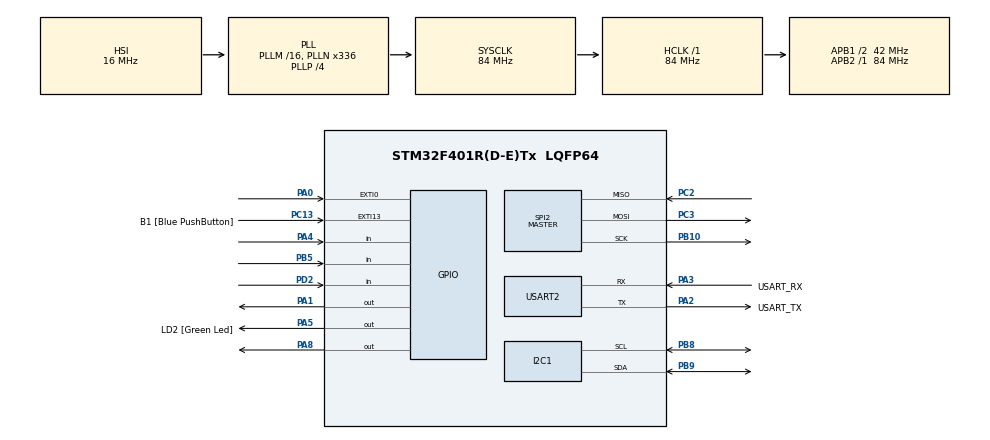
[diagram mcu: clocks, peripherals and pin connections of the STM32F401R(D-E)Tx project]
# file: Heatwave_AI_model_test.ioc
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FREERTOS.Tasks01=defaultTask,24,128,StartDefaultTask,Default,NULL,Dynamic,NULL,NULL
Mcu.Family=STM32F4
Mcu.Name=STM32F401R(D-E)Tx
Mcu.Package=LQFP64
NVIC.EXTI0_IRQn=true\:5\:0\:false\:false\:true\:true\:true\:true\:true
NVIC.PriorityGroup=NVIC_PRIORITYGROUP_4
PA0-WKUP.Signal=GPXTI0
PA1.Signal=GPIO_Output
PA13.GPIO_Label=TMS
PA13.Mode=Serial_Wire
PA13.Signal=SYS_JTMS-SWDIO
PA14.GPIO_Label=TCK
PA14.Mode=Serial_Wire
PA14.Signal=SYS_JTCK-SWCLK
PA2.GPIO_Label=USART_TX
PA2.GPIO_Mode=GPIO_MODE_AF_PP
PA2.GPIO_PuPd=GPIO_NOPULL
PA2.GPIO_Speed=GPIO_SPEED_FREQ_LOW
PA2.Mode=Asynchronous
PA2.Signal=USART2_TX
PA3.GPIO_Label=USART_RX
PA3.GPIO_Mode=GPIO_MODE_AF_PP
PA3.GPIO_PuPd=GPIO_NOPULL
PA3.GPIO_Speed=GPIO_SPEED_FREQ_LOW
PA3.Mode=Asynchronous
PA3.Signal=USART2_RX
PA4.Signal=GPIO_Input
PA5.GPIO_Label=LD2 [Green Led]
PA5.GPIO_Mode=GPIO_MODE_OUTPUT_PP
PA5.GPIO_PuPd=GPIO_NOPULL
PA5.GPIO_Speed=GPIO_SPEED_FREQ_LOW
PA5.Signal=GPIO_Output
PA8.Signal=GPIO_Output
PB10.Mode=Full_Duplex_Master
PB10.Signal=SPI2_SCK
PB5.Signal=GPIO_Input
PB8.Mode=I2C
PB8.Signal=I2C1_SCL
PB9.Mode=I2C
PB9.Signal=I2C1_SDA
PC13-ANTI_TAMP.GPIO_Label=B1 [Blue PushButton]
PC13-ANTI_TAMP.GPIO_ModeDefaultEXTI=GPIO_MODE_IT_FALLING
PC13-ANTI_TAMP.GPIO_PuPd=GPIO_NOPULL
PC13-ANTI_TAMP.Signal=GPXTI13
PC14-OSC32_IN.Mode=LSE-External-Oscillator
PC14-OSC32_IN.Signal=RCC_OSC32_IN
PC15-OSC32_OUT.Mode=LSE-External-Oscillator
PC15-OSC32_OUT.Signal=RCC_OSC32_OUT
PC2.Mode=Full_Duplex_Master
PC2.Signal=SPI2_MISO
PC3.Mode=Full_Duplex_Master
PC3.Signal=SPI2_MOSI
PD2.Signal=GPIO_Input
PH0\ -\ OSC_IN.Mode=HSE-External-Clock-Source
PH0\ -\ OSC_IN.Signal=RCC_OSC_IN
PH1\ -\ OSC_OUT.Mode=HSE-External-Clock-Source
PH1\ -\ OSC_OUT.Signal=RCC_OSC_OUT
ProjectManager.HeapSize=0x800
ProjectManager.StackSize=0x800
ProjectManager.TargetToolchain=STM32CubeIDE
RCC.48MHZClocksFreq_Value=48000000
RCC.AHBFreq_Value=84000000
RCC.APB1CLKDivider=RCC_HCLK_DIV2
RCC.APB1Freq_Value=42000000
RCC.APB1TimFreq_Value=84000000
RCC.APB2Freq_Value=84000000
RCC.APB2TimFreq_Value=84000000
RCC.CortexFreq_Value=84000000
RCC.HCLKFreq_Value=84000000
RCC.HSE_VALUE=8000000
RCC.HSI_VALUE=16000000
RCC.PLLN=336
RCC.PLLP=RCC_PLLP_DIV4
RCC.PLLQ=7
RCC.SYSCLKFreq_VALUE=84000000
RCC.SYSCLKSource=RCC_SYSCLKSOURCE_PLLCLK
RCC.VCOOutputFreq_Value=336000000
SPI2.Direction=SPI_DIRECTION_2LINES
SPI2.Mode=SPI_MODE_MASTER
SPI2.VirtualType=VM_MASTER
STMicroelectronics.X-CUBE-AI.10.1.0.ActivationBufferSizeList=60
STMicroelectronics.X-CUBE-AI.10.1.0.ActivationBuffers=pool0
STMicroelectronics.X-CUBE-AI.10.1.0.ActivationNames=pool0
STMicroelectronics.X-CUBE-AI.10.1.0.ActivationSizes=AI_HEATWAVES_MODEL_DATA_ACTIVATION_1_SIZE
STMicroelectronics.X-CUBE-AI.10.1.0.HeapSize=0x800
STMicroelectronics.X-CUBE-AI.10.1.0.InternalRamActivationBufferMaxSize=AI_HEATWAVES_MODEL_DATA_ACTIVATIONS_SIZE
STMicroelectronics.X-CUBE-AI.10.1.0.LatestDirectoryUsed-2bf222f21cbd70b69f9839269ae9404f0735cd47a3f2eb0ea750e354c40eb9b4=/Users/ayushganguly/Documents/FYDP/heatwave/AI
STMicroelectronics.X-CUBE-AI.10.1.0.MaximumNumberOfInputLayer=1
STMicroelectronics.X-CUBE-AI.10.1.0.MaximumNumberOfOutputLayer=1
STMicroelectronics.X-CUBE-AI.10.1.0.MaximumSizeOfInputLayer=1
STMicroelectronics.X-CUBE-AI.10.1.0.MaximumSizeOfOutputLayer=1
STMicroelectronics.X-CUBE-AI.10.1.0.ModelActualCompression-2bf222f21cbd70b69f9839269ae9404f0735cd47a3f2eb0ea750e354c40eb9b4=0.0
STMicroelectronics.X-CUBE-AI.10.1.0.ModelCompression-2bf222f21cbd70b69f9839269ae9404f0735cd47a3f2eb0ea750e354c40eb9b4=None
STMicroelectronics.X-CUBE-AI.10.1.0.ModelFlashOccupation-2bf222f21cbd70b69f9839269ae9404f0735cd47a3f2eb0ea750e354c40eb9b4=9532
STMicroelectronics.X-CUBE-AI.10.1.0.ModelHashList=2bf222f21cbd70b69f9839269ae9404f0735cd47a3f2eb0ea750e354c40eb9b4
STMicroelectronics.X-CUBE-AI.10.1.0.ModelKind-2bf222f21cbd70b69f9839269ae9404f0735cd47a3f2eb0ea750e354c40eb9b4=TFLITE
STMicroelectronics.X-CUBE-AI.10.1.0.ModelMacc-2bf222f21cbd70b69f9839269ae9404f0735cd47a3f2eb0ea750e354c40eb9b4=181
STMicroelectronics.X-CUBE-AI.10.1.0.ModelName-2bf222f21cbd70b69f9839269ae9404f0735cd47a3f2eb0ea750e354c40eb9b4=heatwaves_model
STMicroelectronics.X-CUBE-AI.10.1.0.ModelNameList=heatwaves_model
STMicroelectronics.X-CUBE-AI.10.1.0.ModelRamOccupation-2bf222f21cbd70b69f9839269ae9404f0735cd47a3f2eb0ea750e354c40eb9b4=1548
STMicroelectronics.X-CUBE-AI.10.1.0.ModelStructureFile-2bf222f21cbd70b69f9839269ae9404f0735cd47a3f2eb0ea750e354c40eb9b4=/Users/ayushganguly/Documents/FYDP/heatwave/AI/heatwave_model_updated.tflite
STMicroelectronics.X-CUBE-AI.10.1.0.ModelType-2bf222f21cbd70b69f9839269ae9404f0735cd47a3f2eb0ea750e354c40eb9b4=STM32Cube.AI MCU runtime
STMicroelectronics.X-CUBE-AI.10.1.0.ReadyForCodeGeneration=true
STMicroelectronics.X-CUBE-AI.10.1.0.StackSize=0x800
STMicroelectronics.X-CUBE-AI.10.1.0.WorkingBufferStartAddrList=0xFFFFFFFF
STMicroelectronics.X-CUBE-AI.10.1.0.XAaCUBEAaAICcArtificialOoIntelligenceJjCore=true
STMicroelectronics.X-CUBE-AI.10.1.0.copyWeightToRam=false
STMicroelectronics.X-CUBE-AI.10.1.0.copyWeightToRam-2bf222f21cbd70b69f9839269ae9404f0735cd47a3f2eb0ea750e354c40eb9b4=false
STMicroelectronics.X-CUBE-AI.10.1.0.customLayerConfigEnabled=false
STMicroelectronics.X-CUBE-AI.10.1.0.customLayerConfigEnabled-2bf222f21cbd70b69f9839269ae9404f0735cd47a3f2eb0ea750e354c40eb9b4=false
STMicroelectronics.X-CUBE-AI.10.1.0.noOnnxIoTranspose=false
STMicroelectronics.X-CUBE-AI.10.1.0.noOnnxIoTranspose-2bf222f21cbd70b69f9839269ae9404f0735cd47a3f2eb0ea750e354c40eb9b4=false
STMicroelectronics.X-CUBE-AI.10.1.0.outputDirectory=/Users/ayushganguly/.stm32cubemx/heatwaves_model_output
STMicroelectronics.X-CUBE-AI.10.1.0.useInputAllocation=true
STMicroelectronics.X-CUBE-AI.10.1.0.useInputAllocation-2bf222f21cbd70b69f9839269ae9404f0735cd47a3f2eb0ea750e354c40eb9b4=true
STMicroelectronics.X-CUBE-AI.10.1.0.useOutputAllocation=true
STMicroelectronics.X-CUBE-AI.10.1.0.useOutputAllocation-2bf222f21cbd70b69f9839269ae9404f0735cd47a3f2eb0ea750e354c40eb9b4=true
STMicroelectronics.X-CUBE-BLE1.7.1.0.BSP.number=2
STMicroelectronics.X-CUBE-BLE1.7.1.0.BlueNRGAaMSCcWirelessJjBlueNRGAaMSJjController=true
STMicroelectronics.X-CUBE-BLE1.7.1.0.BlueNRGAaMSCcWirelessJjBlueNRGAaMSJjHCIIiTL=Basic
STMicroelectronics.X-CUBE-BLE1.7.1.0.BlueNRGAaMSCcWirelessJjBlueNRGAaMSJjHCIIiTLIiINTERFACE=UserBoard
STMicroelectronics.X-CUBE-BLE1.7.1.0.BlueNRGAaMSCcWirelessJjBlueNRGAaMSJjUtils=true
STMicroelectronics.X-CUBE-BLE1.7.1.00.BSP.STBoard=false
STMicroelectronics.X-CUBE-BLE1.7.1.00.BSP.api=HAL_EXTI_DRIVER
STMicroelectronics.X-CUBE-BLE1.7.1.00.BSP.condition=SEMBlueNRGAaMSCcWirelessJjBlueNRGAaMSJjHCIIiTLIiINTERFACEJjUserBoard
STMicroelectronics.X-CUBE-BLE1.7.1.00.BSP.instance=PA0-WKUP
STMicroelectronics.X-CUBE-BLE1.7.1.00.BSP.ip=GPIO
STMicroelectronics.X-CUBE-BLE1.7.1.00.BSP.mode=EXTI
STMicroelectronics.X-CUBE-BLE1.7.1.00.BSP.name=Exti Line
STMicroelectronics.X-CUBE-BLE1.7.1.00.BSP.solution=PA0-WKUP
STMicroelectronics.X-CUBE-BLE1.7.1.01.BSP.STBoard=false
STMicroelectronics.X-CUBE-BLE1.7.1.01.BSP.api=Unknown
STMicroelectronics.X-CUBE-BLE1.7.1.01.BSP.condition=SEMBlueNRGAaMSCcWirelessJjBlueNRGAaMSJjHCIIiTLIiINTERFACEJjUserBoard
STMicroelectronics.X-CUBE-BLE1.7.1.01.BSP.instance=PA1
STMicroelectronics.X-CUBE-BLE1.7.1.01.BSP.ip=GPIO
STMicroelectronics.X-CUBE-BLE1.7.1.01.BSP.mode=Output
STMicroelectronics.X-CUBE-BLE1.7.1.01.BSP.name=CS Line
STMicroelectronics.X-CUBE-BLE1.7.1.01.BSP.solution=PA1
TIM11.Prescaler=83
USART2.VirtualMode=VM_ASYNC
VP_FREERTOS_VS_CMSIS_V2.Mode=CMSIS_V2
VP_STMicroelectronics.X-CUBE-AI_VS_ArtificialOoIntelligenceJjXAaCUBEAaAI_10.1.0.Mode=ArtificialOoIntelligenceJjXAaCUBEAaAI
VP_STMicroelectronics.X-CUBE-BLE1_VS_WirelessJjBlueNRGAaMS_7.1.0.Mode=WirelessJjBlueNRGAaMS
VP_TIM11_VS_ClockSourceINT.Mode=Enable_Timer
board=NUCLEO-F401RE

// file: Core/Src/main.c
/* USER CODE BEGIN Header */
/**
 ******************************************************************************
 * @file           : main.c
 * @brief          : Main program body
 ******************************************************************************
 * @attention
 *
 * Copyright (c) 2025 STMicroelectronics.
 * All rights reserved.
 *
 * This software is licensed under terms that can be found in the LICENSE file
 * in the root directory of this software component.
 * If no LICENSE file comes with this software, it is provided AS-IS.
 *
 ******************************************************************************
 */
/* USER CODE END Header */
#include "main.h"
#include "cmsis_os.h"

/* USER CODE BEGIN Includes */
#include <stdio.h>

#include "RTOSTasks.h"

#include "ai_datatypes_defines.h"
#include "ai_platform.h"
#include "heatwaves_model.h"
#include "heatwaves_model_data.h"

/* USER CODE END Includes */

I2C_HandleTypeDef hi2c1;

SPI_HandleTypeDef hspi2;

TIM_HandleTypeDef htim11;

UART_HandleTypeDef huart2;

/* Definitions for defaultTask */
osThreadId_t defaultTaskHandle;
const osThreadAttr_t defaultTask_attributes = {
  .name = "defaultTask",
  .stack_size = 128 * 4,
  .priority = (osPriority_t) osPriorityNormal,
};
/* USER CODE BEGIN PV */
void microDelay(uint16_t delay)
{
  taskENTER_CRITICAL();
  __HAL_TIM_SET_COUNTER(&htim11, 0);
  while (__HAL_TIM_GET_COUNTER(&htim11) < delay)
    ;
  taskEXIT_CRITICAL();
}

/* USER CODE END PV */

void SystemClock_Config(void);
static void MX_GPIO_Init(void);
static void MX_USART2_UART_Init(void);
static void MX_TIM11_Init(void);
static void MX_I2C1_Init(void);
static void MX_SPI2_Init(void);
void StartDefaultTask(void *argument);

/* USER CODE BEGIN PFP */
// int _write(int file, char *ptr, int len)
// {
//   (void)file;
//   int DataIdx;

//   for (DataIdx = 0; DataIdx < len; DataIdx++)
//   {
//     ITM_SendChar(*ptr++);
//   }
//   return len;
// }

int _write(int file, char *ptr, int len)
{
  for (int i = 0; i < len; i++)
  {
    ITM_SendChar((*ptr++));
  }
  return len;
}

int __io_putchar(int ch)
{
  HAL_UART_Transmit(&huart2, &ch, 1, HAL_MAX_DELAY);
  return ch;
}

/* USER CODE END PFP */

int main(void)
{

  /* MCU Configuration--------------------------------------------------------*/

  /* Reset of all peripherals, Initializes the Flash interface and the Systick. */
  HAL_Init();

  /* Configure the system clock */
  SystemClock_Config();

  /* Initialize all configured peripherals */
  MX_GPIO_Init();
  MX_USART2_UART_Init();
  MX_TIM11_Init();
  MX_I2C1_Init();
  MX_SPI2_Init();
  /* USER CODE BEGIN 2 */
  HAL_TIM_Base_Start(&htim11);
  /* USER CODE END 2 */

  /* Init scheduler */
  osKernelInitialize();

  /* Create the thread(s) */
  /* creation of defaultTask */
  defaultTaskHandle = osThreadNew(StartDefaultTask, NULL, &defaultTask_attributes);

  /* USER CODE BEGIN RTOS_THREADS */
  heatSkinTempTaskHandle = osThreadNew(StartSkinTempHeat, NULL, &heatSkinTemp_attributes);
  max30100TaskHandle = osThreadNew(StartMAX30100Task, NULL, &max30100Task_attributes);
  uvIndexTaskHandle = osThreadNew(StartLTR390Task, NULL, &uvIndexTask_attributes);
  AITaskHandle = osThreadNew(StartAITask, NULL, &AITaskHandle_attributes);
  /* USER CODE END RTOS_THREADS */

  /* Start scheduler */
  osKernelStart();

  /* We should never get here as control is now taken by the scheduler */

  /* Infinite loop */
  while (1)
  {

  }
}

void SystemClock_Config(void)
{
  RCC_OscInitTypeDef RCC_OscInitStruct = {0};
  RCC_ClkInitTypeDef RCC_ClkInitStruct = {0};

  /** Configure the main internal regulator output voltage
  */
  __HAL_RCC_PWR_CLK_ENABLE();
  __HAL_PWR_VOLTAGESCALING_CONFIG(PWR_REGULATOR_VOLTAGE_SCALE2);

  /** Initializes the RCC Oscillators according to the specified parameters
  * in the RCC_OscInitTypeDef structure.
  */
  RCC_OscInitStruct.OscillatorType = RCC_OSCILLATORTYPE_HSI;
  RCC_OscInitStruct.HSIState = RCC_HSI_ON;
  RCC_OscInitStruct.HSICalibrationValue = RCC_HSICALIBRATION_DEFAULT;
  RCC_OscInitStruct.PLL.PLLState = RCC_PLL_ON;
  RCC_OscInitStruct.PLL.PLLSource = RCC_PLLSOURCE_HSI;
  RCC_OscInitStruct.PLL.PLLM = 16;
  RCC_OscInitStruct.PLL.PLLN = 336;
  RCC_OscInitStruct.PLL.PLLP = RCC_PLLP_DIV4;
  RCC_OscInitStruct.PLL.PLLQ = 7;
  if (HAL_RCC_OscConfig(&RCC_OscInitStruct) != HAL_OK)
  {
    Error_Handler();
  }

  /** Initializes the CPU, AHB and APB buses clocks
  */
  RCC_ClkInitStruct.ClockType = RCC_CLOCKTYPE_HCLK|RCC_CLOCKTYPE_SYSCLK
                              |RCC_CLOCKTYPE_PCLK1|RCC_CLOCKTYPE_PCLK2;
  RCC_ClkInitStruct.SYSCLKSource = RCC_SYSCLKSOURCE_PLLCLK;
  RCC_ClkInitStruct.AHBCLKDivider = RCC_SYSCLK_DIV1;
  RCC_ClkInitStruct.APB1CLKDivider = RCC_HCLK_DIV2;
  RCC_ClkInitStruct.APB2CLKDivider = RCC_HCLK_DIV1;

  if (HAL_RCC_ClockConfig(&RCC_ClkInitStruct, FLASH_LATENCY_2) != HAL_OK)
  {
    Error_Handler();
  }
}

static void MX_I2C1_Init(void)
{

  hi2c1.Instance = I2C1;
  hi2c1.Init.ClockSpeed = 100000;
  hi2c1.Init.DutyCycle = I2C_DUTYCYCLE_2;
  hi2c1.Init.OwnAddress1 = 0;
  hi2c1.Init.AddressingMode = I2C_ADDRESSINGMODE_7BIT;
  hi2c1.Init.DualAddressMode = I2C_DUALADDRESS_DISABLE;
  hi2c1.Init.OwnAddress2 = 0;
  hi2c1.Init.GeneralCallMode = I2C_GENERALCALL_DISABLE;
  hi2c1.Init.NoStretchMode = I2C_NOSTRETCH_DISABLE;
  if (HAL_I2C_Init(&hi2c1) != HAL_OK)
  {
    Error_Handler();
  }

}

static void MX_SPI2_Init(void)
{

  /* SPI2 parameter configuration*/
  hspi2.Instance = SPI2;
  hspi2.Init.Mode = SPI_MODE_MASTER;
  hspi2.Init.Direction = SPI_DIRECTION_2LINES;
  hspi2.Init.DataSize = SPI_DATASIZE_8BIT;
  hspi2.Init.CLKPolarity = SPI_POLARITY_LOW;
  hspi2.Init.CLKPhase = SPI_PHASE_1EDGE;
  hspi2.Init.NSS = SPI_NSS_SOFT;
  hspi2.Init.BaudRatePrescaler = SPI_BAUDRATEPRESCALER_2;
  hspi2.Init.FirstBit = SPI_FIRSTBIT_MSB;
  hspi2.Init.TIMode = SPI_TIMODE_DISABLE;
  hspi2.Init.CRCCalculation = SPI_CRCCALCULATION_DISABLE;
  hspi2.Init.CRCPolynomial = 10;
  if (HAL_SPI_Init(&hspi2) != HAL_OK)
  {
    Error_Handler();
  }

}

static void MX_TIM11_Init(void)
{

  htim11.Instance = TIM11;
  htim11.Init.Prescaler = 83;
  htim11.Init.CounterMode = TIM_COUNTERMODE_UP;
  htim11.Init.Period = 65535;
  htim11.Init.ClockDivision = TIM_CLOCKDIVISION_DIV1;
  htim11.Init.AutoReloadPreload = TIM_AUTORELOAD_PRELOAD_DISABLE;
  if (HAL_TIM_Base_Init(&htim11) != HAL_OK)
  {
    Error_Handler();
  }

}

static void MX_USART2_UART_Init(void)
{

  huart2.Instance = USART2;
  huart2.Init.BaudRate = 115200;
  huart2.Init.WordLength = UART_WORDLENGTH_8B;
  huart2.Init.StopBits = UART_STOPBITS_1;
  huart2.Init.Parity = UART_PARITY_NONE;
  huart2.Init.Mode = UART_MODE_TX_RX;
  huart2.Init.HwFlowCtl = UART_HWCONTROL_NONE;
  huart2.Init.OverSampling = UART_OVERSAMPLING_16;
  if (HAL_UART_Init(&huart2) != HAL_OK)
  {
    Error_Handler();
  }

}

static void MX_GPIO_Init(void)
{
  GPIO_InitTypeDef GPIO_InitStruct = {0};

  /* GPIO Ports Clock Enable */
  __HAL_RCC_GPIOC_CLK_ENABLE();
  __HAL_RCC_GPIOH_CLK_ENABLE();
  __HAL_RCC_GPIOA_CLK_ENABLE();
  __HAL_RCC_GPIOB_CLK_ENABLE();
  __HAL_RCC_GPIOD_CLK_ENABLE();

  /*Configure GPIO pin Output Level */
  HAL_GPIO_WritePin(GPIOA, GPIO_PIN_1|LD2_Pin|GPIO_PIN_8, GPIO_PIN_RESET);

  /*Configure GPIO pin : B1_Pin */
  GPIO_InitStruct.Pin = B1_Pin;
  GPIO_InitStruct.Mode = GPIO_MODE_IT_FALLING;
  GPIO_InitStruct.Pull = GPIO_NOPULL;
  HAL_GPIO_Init(B1_GPIO_Port, &GPIO_InitStruct);

  /*Configure GPIO pin : PA0 */
  GPIO_InitStruct.Pin = GPIO_PIN_0;
  GPIO_InitStruct.Mode = GPIO_MODE_IT_RISING;
  GPIO_InitStruct.Pull = GPIO_NOPULL;
  HAL_GPIO_Init(GPIOA, &GPIO_InitStruct);

  /*Configure GPIO pins : PA1 LD2_Pin PA8 */
  GPIO_InitStruct.Pin = GPIO_PIN_1|LD2_Pin|GPIO_PIN_8;
  GPIO_InitStruct.Mode = GPIO_MODE_OUTPUT_PP;
  GPIO_InitStruct.Pull = GPIO_NOPULL;
  GPIO_InitStruct.Speed = GPIO_SPEED_FREQ_LOW;
  HAL_GPIO_Init(GPIOA, &GPIO_InitStruct);

  /*Configure GPIO pin : PA4 */
  GPIO_InitStruct.Pin = GPIO_PIN_4;
  GPIO_InitStruct.Mode = GPIO_MODE_INPUT;
  GPIO_InitStruct.Pull = GPIO_NOPULL;
  HAL_GPIO_Init(GPIOA, &GPIO_InitStruct);

  /*Configure GPIO pin : PD2 */
  GPIO_InitStruct.Pin = GPIO_PIN_2;
  GPIO_InitStruct.Mode = GPIO_MODE_INPUT;
  GPIO_InitStruct.Pull = GPIO_NOPULL;
  HAL_GPIO_Init(GPIOD, &GPIO_InitStruct);

  /*Configure GPIO pin : PB5 */
  GPIO_InitStruct.Pin = GPIO_PIN_5;
  GPIO_InitStruct.Mode = GPIO_MODE_INPUT;
  GPIO_InitStruct.Pull = GPIO_NOPULL;
  HAL_GPIO_Init(GPIOB, &GPIO_InitStruct);

  /* EXTI interrupt init*/
  HAL_NVIC_SetPriority(EXTI0_IRQn, 5, 0);
  HAL_NVIC_EnableIRQ(EXTI0_IRQn);

}

void StartDefaultTask(void *argument)
{
  for (;;)
  {
    osDelay(1);
  }
}

void Error_Handler(void)
{
  __disable_irq();
  while (1)
  {
  }
}
